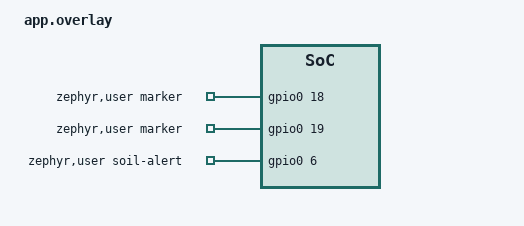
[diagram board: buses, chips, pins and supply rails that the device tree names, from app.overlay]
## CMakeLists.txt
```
cmake_minimum_required(VERSION 3.20)

# Shared modules (SM-04): sensor devicetree + calibration, and the network stack.
set(SHIELD plant_sensors)
set(SNIPPET plant-net)

# WiFi credentials and broker are local-only (gitignored); see credentials.conf.example.
# The read interval comes from a committed fragment selected per condition:
#   west build -p always ... -- -DEXTRA_CONF_FILE=interval-60.conf
# Never pass -DCONFIG_... on the command line: CMake caches it and it silently
# overrides later builds.
if(EXISTS ${CMAKE_CURRENT_SOURCE_DIR}/credentials.conf)
  list(APPEND EXTRA_CONF_FILE ${CMAKE_CURRENT_SOURCE_DIR}/credentials.conf)
else()
  message(FATAL_ERROR "Missing credentials.conf: copy credentials.conf.example "
                      "to credentials.conf and fill in SSID, PSK and broker.")
endif()

find_package(Zephyr REQUIRED HINTS $ENV{ZEPHYR_BASE})
project(main CXX C)
target_sources(app PRIVATE src/main.cpp src/cycle.cpp src/retained.cpp
  src/sleep_esp32.c src/phase_markers.c)
```

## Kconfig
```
mainmenu "Plant Monitor — Main Application"

# Compile-time configuration of the reduced apps/main (issue #22): BLE
# provisioning and Settings are cut, so these replace the Settings keys of
# FR-MA-05a.

config APP_READ_INTERVAL_S
	int "Read interval (s): Sleep length between Cycles"
	default 300
	range 10 86400
	help
	  Set per experiment condition with interval-60.conf / interval-300.conf,
	  never on the command line.

config APP_DEVICE_NAME
	string "Device name (MQTT topic segment and client id)"
	default "plant"
	help
	  FR-MA-05 default. Shorter than 64 bytes (MQTT client id limit).

config APP_WIFI_SSID
	string "WiFi SSID"

config APP_WIFI_PSK
	string "WiFi PSK"

config APP_MQTT_BROKER
	string "MQTT broker host (IPv4 literal or DNS name)"

source "Kconfig.zephyr"
```

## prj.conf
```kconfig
# App-local symbols only. Sensor and network symbols come from the
# plant_sensors shield and the plant-net snippet (SM-05).
CONFIG_CPP=y
CONFIG_STD_CPP17=y
CONFIG_BT=n
# System power management stays off (ADR-0006): its idle policy enters
# light sleep with no wake source during network waits and the device
# stops (static-sleep DD-SS-03; bench, 2026-11-19).
CONFIG_PM=n
# Sleep is reached with sys_poweroff() (as in apps/static-sleep and
# samples/boards/espressif/deep_sleep).
CONFIG_POWEROFF=y
CONFIG_LOG=y
CONFIG_LOG_DEFAULT_LEVEL=2
```

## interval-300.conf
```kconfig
# Experiment condition: 300 s read interval (FR-MA-05 default).
CONFIG_APP_READ_INTERVAL_S=300
```

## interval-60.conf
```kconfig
# Experiment condition: 60 s read interval (literature sanity check).
CONFIG_APP_READ_INTERVAL_S=60
```

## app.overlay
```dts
/* What apps/main alone needs on top of the plant_sensors shield
 * (NFR-MA-04). The shield's zephyr,user node (io-channels) merges with this
 * one. */

#include <zephyr/dt-bindings/gpio/gpio.h>

/ {
	zephyr,user {
		/* Phase markers (FR-MA-18): index 0 = code bit 1 = GPIO18 (to the
		 * Reader's GPIO6), index 1 = code bit 0 = GPIO19 (to the Reader's
		 * GPIO7). Same port and active high: phase_markers.c writes both
		 * in one masked register write. */
		marker-gpios = <&gpio0 18 GPIO_ACTIVE_HIGH>,
			       <&gpio0 19 GPIO_ACTIVE_HIGH>;

		/* LM393 DO, the deep-sleep wake source (FR-MA-06, SM-06). "Active"
		 * means past the threshold (dry). The polarity is NOT yet confirmed
		 * on the bench (#26): if DO reads low when dry, change this one
		 * flag to GPIO_ACTIVE_LOW. No internal pull: the module drives DO. */
		soil-alert-gpios = <&gpio0 6 GPIO_ACTIVE_HIGH>;
	};
};

/* Unused (CONFIG_SPI is off), but the board's default pinctrl for it claims
 * GPIO6 as SCLK. */
&spi2 {
	status = "disabled";
};
```

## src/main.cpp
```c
/* apps/main, reduced for the thesis comparison (issue #22). Each boot is one
 * Cycle: run the Active phase, then Sleep for CONFIG_APP_READ_INTERVAL_S or
 * until the soil-moisture comparator wakes the device (issue #26). There is no
 * application loop; a wake is a fresh boot, and the retained struct
 * (retained.h) is all that one Cycle hands the next (issue #24). */
#include <zephyr/kernel.h>
#include <zephyr/logging/log.h>
#include <zephyr/logging/log_ctrl.h>

#include "cycle.h"
#include "phase_markers.h"
#include "sleep.h"

LOG_MODULE_REGISTER(main_app, LOG_LEVEL_WRN);

int64_t plant::cycle_uptime_ms()
{
	return k_uptime_get();
}

namespace {

const plant::CycleConfig cycle_cfg = {
	CONFIG_APP_WIFI_SSID,
	CONFIG_APP_WIFI_PSK,
	CONFIG_APP_MQTT_BROKER,
	CONFIG_APP_DEVICE_NAME,
	10000, /* WiFi connect timeout (DD-MA-03) */
	3000,  /* SNTP timeout (DD-MA-11) */
	10000, /* MQTT connect timeout: not specified, matches baseline A */
	5000,  /* delivery confirmation timeout (ADR-0010) */
};

} // namespace

int main(void)
{
	/* Configure the marker pins first, so the timestamp and `01` are
	 * adjacent (FR-MA-18). Instrumentation only: a failed init leaves the
	 * markers silent and the Cycle unchanged. */
	(void)phase_markers_init();

	/* FR-MA-07 step 1: the first timestamp of the Active phase. */
	const int64_t t_active_start_ms = k_uptime_get();

	phase_markers_set(PHASE_MARKER_SENSORS);

	/* Steps 2 and 2a: the wake reason, this Cycle's number and the Sleep
	 * that preceded it. */
	main_retained &retained = *sleep_retained();
	const plant::WakeState wake = plant::retained_on_wake(
		retained, sleep_woke(), sleep_wake_reason(), sleep_rtc_ticks());

	LOG_WRN("main: device %s, read interval %d s, cycle %u, %s", CONFIG_APP_DEVICE_NAME,
		CONFIG_APP_READ_INTERVAL_S, wake.cycle_count,
		wake.t_sleep_valid ? "woke from Sleep" : "first boot");

	const plant::CycleResult r = plant::run_cycle(cycle_cfg, wake, t_active_start_ms);

	if (r.error != 0) {
		LOG_WRN("cycle not published: %d", r.error);
	}
	/* The published t_active_ms stops before the teardown (cycle.h); the
	 * time to Sleep entry includes it, for comparison with the trace. */
	LOG_WRN("t_sensor %u ms, t_wifi %u ms, t_active %u ms, %u ms to sleep",
		r.t_sensor_ms, r.t_wifi_ms, r.t_active_ms,
		(uint32_t)(k_uptime_get() - t_active_start_ms));

	/* The wake-loop rule (ADR-0009): whether the next Sleep arms GPIO6. */
	const bool soil_past = sleep_soil_past_threshold();
	const bool soil_wake = plant::soil_wake_next(wake, soil_past);

	LOG_WRN("wake %s, soil %s threshold, next Sleep %s",
		wake.wake_reason == PLANT_WAKE_SOIL_MOISTURE_ALERT ? "soil_moisture_alert"
								   : "timer",
		soil_past ? "past" : "within", soil_wake ? "timer + GPIO6" : "timer only");

	/* Step 19: the record the next Cycle reads, with the Sleep length and
	 * wake sources that are about to be armed. */
	const uint32_t sleep_s = CONFIG_APP_READ_INTERVAL_S;

	plant::retained_on_sleep(retained, sleep_rtc_ticks(), sleep_s * 1000U, soil_wake);

	/* Deferred logging: print everything before the power goes. */
	LOG_PANIC();
	sleep_for(sleep_s, soil_wake);
}
```

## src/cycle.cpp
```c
#include <stdio.h>

#include <plant/json.h>
#include <plant/net.h>
#include <plant/sensors.h>
#include <plant/types.h>

#include "cycle.h"
#include "phase_markers.h"

namespace plant {

namespace {

/* The WiFi phase's inputs from the sensor phase, and the result it fills. */
struct WifiPhase {
	const CycleConfig &cfg;
	const WakeState &wake;
	const plant_sensor_values &values;
	int64_t t_wifi_start_ms;
	CycleResult &result;
};

/* Close the WiFi phase at the current uptime (FR-MA-16, cut early: see
 * CycleResult). t_active_ms = t_sensor_ms + t_wifi_ms + t_ble_ms, t_ble_ms = 0.
 * The Teardown starts here, on every path (FR-MA-18): each one calls this
 * exactly once. */
void stop_clock(WifiPhase &p)
{
	p.result.t_wifi_ms = (uint32_t)(cycle_uptime_ms() - p.t_wifi_start_ms);
	phase_markers_set(PHASE_MARKER_TEARDOWN);
	p.result.t_active_ms = p.result.t_sensor_ms + p.result.t_wifi_ms;
}

/* len is the encoder's result; an encode error fails the publish. */
int publish(const char *device_name, const char *subtopic, const char *payload, int len)
{
	char topic[96];

	if (len < 0) {
		return len;
	}
	snprintf(topic, sizeof(topic), "plants/%s/%s", device_name, subtopic);
	return plant_mqtt_publish(topic, payload, (size_t)len);
}

/* Steps 6-10, with WiFi associated: one SNTP attempt, MQTT connect, the two
 * publishes and the delivery confirmation (ADR-0010). Returns 0, or the error
 * of the first step that failed. */
int publish_cycle(WifiPhase &p)
{
	const CycleConfig &cfg = p.cfg;
	plant_status status = {};
	char payload[PLANT_JSON_RAW_MAX > PLANT_JSON_STATUS_MAX ? PLANT_JSON_RAW_MAX
								: PLANT_JSON_STATUS_MAX];
	int64_t epoch_ms;
	int64_t boot_epoch_ms = 0;
	bool have_epoch = false;
	int64_t timestamp_ms = 0;
	int16_t rssi;
	int len;
	int ret;

	if (plant_sntp_sync(cfg.sntp_timeout_ms, &epoch_ms) == 0) {
		boot_epoch_ms = epoch_ms - cycle_uptime_ms();
		have_epoch = true;
	}
	/* A failed connect releases its own socket: nothing to disconnect. */
	ret = plant_mqtt_connect(cfg.broker, cfg.device_name, cfg.mqtt_timeout_ms);
	if (ret < 0) {
		stop_clock(p);
		return ret;
	}

	if (have_epoch) {
		timestamp_ms = boot_epoch_ms + cycle_uptime_ms();
	}
	len = plant_json_encode_raw(&p.values, have_epoch ? &timestamp_ms : nullptr, payload,
				    sizeof(payload));
	ret = publish(cfg.device_name, "sensors/raw", payload, len);
	if (ret < 0) {
		stop_clock(p);
		/* A failed publish can leave the client marked connected. */
		(void)plant_mqtt_disconnect();
		return ret;
	}

	status.wake_reason = p.wake.wake_reason;
	status.present = PLANT_STATUS_WAKE_REASON | PLANT_STATUS_T_ACTIVE_MS |
			 PLANT_STATUS_T_SENSOR_MS | PLANT_STATUS_T_WIFI_MS | PLANT_STATUS_T_BLE_MS |
			 PLANT_STATUS_CYCLE_COUNT;
	status.cycle_count = p.wake.cycle_count;
	if (p.wake.t_sleep_valid) {
		status.t_sleep_ms = p.wake.t_sleep_ms;
		status.present |= PLANT_STATUS_T_SLEEP_MS;
	}
	if (plant_wifi_rssi(&rssi) == 0) {
		status.wifi_rssi_dbm = rssi;
		status.present |= PLANT_STATUS_WIFI_RSSI_DBM;
	}
	if (have_epoch) {
		status.timestamp_ms = timestamp_ms;
		status.present |= PLANT_STATUS_TIMESTAMP_MS;
	}
	stop_clock(p);
	status.t_sensor_ms = p.result.t_sensor_ms;
	status.t_wifi_ms = p.result.t_wifi_ms;
	status.t_ble_ms = 0;
	status.t_active_ms = p.result.t_active_ms;
	len = plant_json_encode_status(&status, payload, sizeof(payload));
	ret = publish(cfg.device_name, "status", payload, len);
	if (ret == 0) {
		/* QoS 0 only hands the payloads to the TCP send buffer. Before
		 * the radio goes down, confirm the broker has both (ADR-0010). */
		ret = plant_mqtt_flush(cfg.flush_timeout_ms);
	}

	(void)plant_mqtt_disconnect();
	return ret;
}

} // namespace

CycleResult run_cycle(const CycleConfig &cfg, const WakeState &wake, int64_t t_active_start_ms)
{
	CycleResult result = {};
	plant_sensor_values values = {};
	int ret;

	/* Sensor phase (steps 3-4): a failed sensor is a cleared valid bit,
	 * published as null (FR-MA-08a); it never stops the Cycle. */
	(void)plant_sensors_init();
	(void)plant_sensors_read(&values);

	WifiPhase p = {cfg, wake, values, cycle_uptime_ms(), result};

	phase_markers_set(PHASE_MARKER_WIFI); /* at t_wifi_start (FR-MA-18) */
	result.t_sensor_ms = (uint32_t)(p.t_wifi_start_ms - t_active_start_ms);

	/* WiFi phase (steps 4a-11). */
	ret = plant_net_init();
	if (ret == 0) {
		ret = plant_wifi_connect(cfg.ssid, cfg.psk, cfg.wifi_timeout_ms);
	}
	if (ret == 0) {
		ret = publish_cycle(p);
	} else {
		stop_clock(p);
	}
	result.error = ret;
	(void)plant_wifi_disconnect();
	return result;
}

} // namespace plant
```

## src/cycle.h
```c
/* One Active phase of apps/main (FR-MA-07 steps 3-11 and 16-17).
 *
 * Zephyr-free so the host tests can run it (tests/host/test_main_cycle.cpp):
 * it reaches the hardware only through <plant/sensors.h> and <plant/net.h>,
 * and the clock only through cycle_uptime_ms(), which the app provides.
 * Waking up and going back to Sleep are the caller's job (sleep.h). */
#ifndef MAIN_CYCLE_H
#define MAIN_CYCLE_H

#include <stdint.h>

#include "retained.h"

namespace plant {

struct CycleConfig {
	const char *ssid;
	const char *psk;
	const char *broker;
	const char *device_name; /* MQTT topic segment and client id, < 64 bytes */
	int32_t wifi_timeout_ms;
	int32_t sntp_timeout_ms;
	int32_t mqtt_timeout_ms;
	int32_t flush_timeout_ms; /* delivery confirmation (ADR-0010) */
};

struct CycleResult {
	/* 0 when the broker confirmed both payloads, otherwise the error of the
	 * step that failed. Publishing stops at the first failure (DD-MA-02). */
	int error;
	/* The Phase durations as published in `status` (FR-MA-16). Measured up
	 * to the moment `status` is encoded: the MQTT and WiFi teardown that
	 * follows is in no t_* term. t_ble_ms is always 0 (BLE is cut). */
	uint32_t t_sensor_ms;
	uint32_t t_wifi_ms;
	uint32_t t_active_ms;
};

/* Milliseconds since boot. Provided by the app (k_uptime_get()). */
int64_t cycle_uptime_ms();

/* Run one Active phase: read the sensors, connect WiFi, try SNTP once,
 * connect MQTT, publish sensors/raw, sample RSSI, publish status, confirm
 * that the broker received both (ADR-0010), then disconnect MQTT and WiFi.
 * An unconfirmed delivery fails the Cycle like a failed publish.
 * t_active_start_ms is the uptime recorded at wake entry (FR-MA-07 step 1).
 * Never retries: a failed WiFi or MQTT step skips the publishing, and the
 * function still returns with the radio torn down, ready for Sleep.
 * wake_reason, cycle_count and t_sleep_ms come from `wake`
 * (retained_on_wake()); both wake reasons run the same sequence.
 * Sets the phase markers `10` at t_wifi_start and `11` where t_wifi_ms stops
 * (FR-MA-18), on every path; the caller sets `01` before and `00` after. */
CycleResult run_cycle(const CycleConfig &cfg, const WakeState &wake, int64_t t_active_start_ms);

} // namespace plant

#endif
```

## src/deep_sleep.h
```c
/* Sleep entry and wake cause: the only SoC-specific code of apps/main.
 * The Espressif implementation is deep_sleep_esp32.c. */
#ifndef MAIN_DEEP_SLEEP_H
#define MAIN_DEEP_SLEEP_H

#include <stdbool.h>
#include <stdint.h>

#include <zephyr/toolchain.h>

#ifdef __cplusplus
extern "C" {
#endif

/* true when this boot is a wake from a deep-sleep timer, false on a cold boot
 * (power-on, reset, reflash). Logged only: both count as a "timer" wake until
 * retained state exists. */
bool deep_sleep_woke_from_timer(void);

/* Arm the RTC timer to wake after `seconds` and enter deep sleep. Never
 * returns: the wake is a fresh boot. */
FUNC_NORETURN void deep_sleep_for(uint32_t seconds);

#ifdef __cplusplus
}
#endif
#endif
```

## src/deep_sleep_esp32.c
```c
/* Espressif deep sleep (ESP32-C6): the RTC timer is the wake source and
 * sys_poweroff() enters deep sleep, as in apps/static-sleep and
 * zephyr/samples/boards/espressif/deep_sleep. */
#include <zephyr/sys/poweroff.h>

#include <esp_sleep.h>

#include "deep_sleep.h"

bool deep_sleep_woke_from_timer(void)
{
	return esp_sleep_get_wakeup_cause() == ESP_SLEEP_WAKEUP_TIMER;
}

FUNC_NORETURN void deep_sleep_for(uint32_t seconds)
{
	/* 64-bit microseconds: a 32-bit product overflows after ~71 minutes. */
	(void)esp_sleep_enable_timer_wakeup((uint64_t)seconds * 1000000ULL);
	sys_poweroff();
}
```

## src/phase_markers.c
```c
/* Phase markers on GPIO18/GPIO19 (FR-MA-18); interface in phase_markers.h. */
#include <zephyr/devicetree.h>
#include <zephyr/drivers/gpio.h>
#include <zephyr/sys/util.h>

#include "phase_markers.h"

#define MARKERS DT_PATH(zephyr_user)

BUILD_ASSERT(DT_PROP_LEN(MARKERS, marker_gpios) == 2, "marker-gpios needs bit 1 and bit 0");
BUILD_ASSERT(DT_SAME_NODE(DT_GPIO_CTLR_BY_IDX(MARKERS, marker_gpios, 0),
			  DT_GPIO_CTLR_BY_IDX(MARKERS, marker_gpios, 1)),
	     "both marker pins must be on one port for a single register write");
BUILD_ASSERT((DT_GPIO_FLAGS_BY_IDX(MARKERS, marker_gpios, 0) & GPIO_ACTIVE_LOW) == 0 &&
		     (DT_GPIO_FLAGS_BY_IDX(MARKERS, marker_gpios, 1) & GPIO_ACTIVE_LOW) == 0,
	     "the raw port write assumes active-high marker pins");

static const struct gpio_dt_spec bit1 = GPIO_DT_SPEC_GET_BY_IDX(MARKERS, marker_gpios, 0);
static const struct gpio_dt_spec bit0 = GPIO_DT_SPEC_GET_BY_IDX(MARKERS, marker_gpios, 1);

static bool ready;

int phase_markers_init(void)
{
	int ret;

	if (!gpio_is_ready_dt(&bit1) || !gpio_is_ready_dt(&bit0)) {
		return -ENODEV;
	}
	ret = gpio_pin_configure_dt(&bit1, GPIO_OUTPUT_INACTIVE);
	if (ret == 0) {
		ret = gpio_pin_configure_dt(&bit0, GPIO_OUTPUT_INACTIVE);
	}
	ready = (ret == 0);
	return ret;
}

void phase_markers_set(enum phase_marker code)
{
	const gpio_port_pins_t mask = BIT(bit1.pin) | BIT(bit0.pin);
	gpio_port_value_t value = 0;

	if (!ready) {
		return;
	}
	if (code & 0x2) {
		value |= BIT(bit1.pin); /* GPIO18 */
	}
	if (code & 0x1) {
		value |= BIT(bit0.pin); /* GPIO19 */
	}
	/* One write to the port's output register (gpio_esp32.c, under
	 * irq_lock): no intermediate code such as 01 -> 11 -> 10. */
	(void)gpio_port_set_masked_raw(bit1.port, mask, value);
}
```

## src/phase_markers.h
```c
/* Phase markers (FR-MA-18, issue #28): two GPIOs that tell the INA219
 * Reader which part of the Active phase the device is in, so the Current
 * trace can be cut into boot, sensors, WiFi and Teardown (ADR-0009).
 *
 * Code bit 1 is GPIO18 and bit 0 is GPIO19 (marker-gpios in app.overlay).
 * The Reader pulls both down, so they read `00` during boot and deep sleep.
 *
 * Zephyr-free so the host tests can fake it (tests/host/test_main_cycle.cpp);
 * C so it can move to a shared module unchanged. The Zephyr implementation is
 * phase_markers.c. */
#ifndef MAIN_PHASE_MARKERS_H
#define MAIN_PHASE_MARKERS_H

#ifdef __cplusplus
extern "C" {
#endif

enum phase_marker {
	PHASE_MARKER_NONE = 0,     /* 00: boot, deep sleep; set last before sys_poweroff() */
	PHASE_MARKER_SENSORS = 1,  /* 01: from t_active_start */
	PHASE_MARKER_WIFI = 2,     /* 10: from t_wifi_start */
	PHASE_MARKER_TEARDOWN = 3, /* 11: from where t_wifi_ms stops */
};

/* Configure both pins as outputs at `00`. Call once, before the first
 * phase_markers_set(). Returns 0 or a negative errno; on error
 * phase_markers_set() does nothing. */
int phase_markers_init(void);

/* Drive `code` on both pins with one register write, so the Reader never
 * samples a code in between. */
void phase_markers_set(enum phase_marker code);

#ifdef __cplusplus
}
#endif
#endif
```

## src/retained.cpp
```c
#include "retained.h"

enum plant_wake_reason main_wake_reason(enum main_wake_cause cause, bool soil_pin_latched)
{
	if (cause == MAIN_WAKE_CAUSE_EXT1 || (cause == MAIN_WAKE_CAUSE_NONE && soil_pin_latched)) {
		return PLANT_WAKE_SOIL_MOISTURE_ALERT;
	}
	return PLANT_WAKE_TIMER;
}

namespace plant {

WakeState retained_on_wake(main_retained &rs, bool woke_from_sleep, plant_wake_reason wake_reason,
			   uint64_t rtc_now_ticks)
{
	WakeState w = {0, false, 0, woke_from_sleep ? wake_reason : PLANT_WAKE_TIMER, false};

	/* Only a wake from Sleep vouches for the magic: a reset or reflash
	 * can leave a complete record behind. */
	if (woke_from_sleep && rs.magic == RETAINED_MAGIC) {
		w.cycle_count = rs.cycle_count + 1;
		w.soil_wake_armed = rs.soil_wake_armed != 0;
		if (wake_reason == PLANT_WAKE_TIMER) {
			/* The armed length is the Sleep that was taken (FR-MA-06). */
			w.t_sleep_valid = true;
			w.t_sleep_ms = rs.scheduled_sleep_ms;
		} else if (rtc_now_ticks >= rs.sleep_start_rtc_ticks) {
			/* An alert cuts the Sleep short: measure it. */
			const uint64_t elapsed_ms =
				retained_ticks_to_ms(rtc_now_ticks - rs.sleep_start_rtc_ticks);

			if (elapsed_ms <= UINT32_MAX) {
				w.t_sleep_valid = true;
				w.t_sleep_ms = (uint32_t)elapsed_ms;
			}
		}
	}
	rs = {};
	rs.cycle_count = w.cycle_count;
	return w;
}

bool soil_wake_next(const WakeState &wake, bool soil_past_threshold)
{
	if (wake.wake_reason == PLANT_WAKE_SOIL_MOISTURE_ALERT) {
		return false;
	}
	return wake.soil_wake_armed || !soil_past_threshold;
}

void retained_on_sleep(main_retained &rs, uint64_t rtc_now_ticks, uint32_t sleep_ms,
		       bool soil_wake_armed)
{
	rs.sleep_start_rtc_ticks = rtc_now_ticks;
	rs.scheduled_sleep_ms = sleep_ms;
	rs.soil_wake_armed = soil_wake_armed ? 1U : 0U;
	rs.magic = RETAINED_MAGIC;
}

} // namespace plant
```

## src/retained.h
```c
/* State that survives Sleep (FR-MA-06 retained struct, FR-MA-17 cycle_count;
 * scope cut: ADR-0009, #23). Each Cycle is a fresh boot, so this is the only
 * memory one Cycle leaves the next.
 *
 * The struct lives in LP SRAM, which stays powered in deep sleep; the
 * SoC-specific placement is in sleep_esp32.c. This header and retained.cpp
 * are Zephyr-free so the host tests can run them
 * (tests/host/test_main_retained.cpp). */
#ifndef MAIN_RETAINED_H
#define MAIN_RETAINED_H

#include <stdbool.h>
#include <stdint.h>

#include <plant/types.h>

#ifdef __cplusplus
extern "C" {
#endif

/* Not initialised by the boot code: after power-on it holds whatever LP SRAM
 * powers up with. Only retained_on_wake() and retained_on_sleep() write it. */
struct main_retained {
	uint32_t magic;              /* RETAINED_MAGIC: a complete Sleep record */
	uint32_t cycle_count;        /* the Cycle that wrote the record */
	/* RTC counter at Sleep entry (for soil alerts). Raw ticks, not ms: each
	 * boot recalibrates the RTC clock, so ms from two boots don't subtract. */
	uint64_t sleep_start_rtc_ticks;
	uint32_t scheduled_sleep_ms; /* the Sleep length that was armed */
	uint32_t soil_wake_armed;    /* non-zero: that Sleep had the GPIO6 wake */
};

/* RTC ticks to ms with this boot's calibration. Provided by the SoC file
 * (sleep_esp32.c). */
uint64_t retained_ticks_to_ms(uint64_t ticks);

/* What the SoC's wake-cause register recorded for the Sleep that just ended. */
enum main_wake_cause {
	MAIN_WAKE_CAUSE_NONE, /* no source recorded */
	MAIN_WAKE_CAUSE_TIMER,
	MAIN_WAKE_CAUSE_EXT1,
};

/* The Wake reason of a Sleep (ADR-0012). The register can stay empty after a
 * GPIO6 wake, so soil_pin_latched (GPIO6 both selected and latched in the EXT1
 * block) decides that case:
 *
 *   recorded cause   soil_pin_latched   Wake reason
 *   EXT1             any                soil alert
 *   timer            any                timer
 *   none             yes                soil alert
 *   none             no                 timer */
enum plant_wake_reason main_wake_reason(enum main_wake_cause cause, bool soil_pin_latched);

#ifdef __cplusplus
}

namespace plant {

constexpr uint32_t RETAINED_MAGIC = 0xDEADB33Fu;

/* What this Cycle publishes from the retained state. */
struct WakeState {
	uint32_t cycle_count;
	bool t_sleep_valid; /* false: t_sleep_ms is published as null */
	uint32_t t_sleep_ms;
	plant_wake_reason wake_reason;
	bool soil_wake_armed; /* the Sleep just ended had the GPIO6 wake */
};

/* FR-MA-07 steps 2 and 2a. Read the record the previous Cycle left, if any,
 * and claim this Cycle's number. The record is valid only when this boot is a
 * wake from Sleep (woke_from_sleep) *and* the magic is intact: a reset or a
 * reflash can leave LP SRAM, magic included, untouched. With a valid record
 * cycle_count is the previous one plus 1, and t_sleep_ms is the armed length
 * on a timer wake or the RTC ticks since Sleep entry, in ms, on a soil alert
 * (null if that is not a duration). Otherwise (first boot, reset, reflash,
 * power loss) the count restarts at 0, as baseline A's first slot, and
 * t_sleep_ms is null. wake_reason is ignored unless woke_from_sleep; a boot
 * that is no wake reports "timer". */
WakeState retained_on_wake(main_retained &rs, bool woke_from_sleep, plant_wake_reason wake_reason,
			   uint64_t rtc_now_ticks);

/* The wake-loop rule (ADR-0009): should the next Sleep arm the GPIO6 wake? The
 * wake is level-triggered, so arming it while DO is past the threshold would
 * wake the device at once.
 *
 *   this wake                  DO past threshold   next Sleep
 *   soil alert                 any                 timer only
 *   timer, GPIO6 wake armed    any                 timer + GPIO6
 *   timer, timer only          yes                 timer only
 *   timer, timer only          no                  timer + GPIO6
 *
 * A boot with no usable record counts as "timer, timer only". */
bool soil_wake_next(const WakeState &wake, bool soil_past_threshold);

/* FR-MA-07 step 19, just before Sleep: record the RTC counter, the Sleep length
 * and whether the GPIO6 wake is about to be armed, and mark the record valid. */
void retained_on_sleep(main_retained &rs, uint64_t rtc_now_ticks, uint32_t sleep_ms,
		       bool soil_wake_armed);

} // namespace plant

#endif
#endif
```

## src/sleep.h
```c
/* Sleep entry, wake cause and retained memory: the only SoC-specific code of
 * apps/main. Sleep is the SoC's deep sleep (HP domain off), entered with
 * sys_poweroff(), not the light sleep CONFIG_PM picks when idle. The
 * Espressif implementation is sleep_esp32.c. */
#ifndef MAIN_SLEEP_H
#define MAIN_SLEEP_H

#include <stdbool.h>
#include <stdint.h>

#include <zephyr/toolchain.h>

#include "retained.h"

#ifdef __cplusplus
extern "C" {
#endif

/* true when this boot is a wake from Sleep, by either wake source; false on
 * any other boot (power-on, reset, reflash). */
bool sleep_woke(void);

/* What ended the Sleep: PLANT_WAKE_SOIL_MOISTURE_ALERT when the GPIO6 wake
 * fired, otherwise PLANT_WAKE_TIMER (also on a boot that is no wake). Call it
 * before sleep_soil_past_threshold(), which clears the EXT1 state it reads
 * (ADR-0012). */
enum plant_wake_reason sleep_wake_reason(void);

/* The struct that survives Sleep (retained.h), in LP SRAM. Its content is
 * whatever the previous boot left, or garbage after power-on. */
struct main_retained *sleep_retained(void);

/* The raw RTC counter. Keeps counting through Sleep; restarts on power-on.
 * retained_ticks_to_ms() (retained.h) converts a difference of two values. */
uint64_t sleep_rtc_ticks(void);

/* Read the LM393 output now: true when the soil is past the threshold. A pin
 * that can't be read counts as past it, so the wake is not armed on an unknown
 * level (a wake loop if the level is asserted). Not a pure query: it releases
 * the pad hold the last Sleep left on GPIO6 and configures the pin as input. */
bool sleep_soil_past_threshold(void);

/* Arm the RTC timer to wake after `seconds`, and the GPIO6 wake if soil_wake
 * (soil_wake_next(), retained.h), release the phase markers to `00`
 * (phase_markers.h) and enter Sleep. Never returns: the wake is a fresh boot.
 * Call it after every retained-RAM write and log. */
FUNC_NORETURN void sleep_for(uint32_t seconds, bool soil_wake);

#ifdef __cplusplus
}
#endif
#endif
```

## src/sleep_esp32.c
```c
/* Sleep on Espressif (ESP32-C6): the RTC timer and the LM393 output on GPIO6
 * wake the chip and sys_poweroff() enters deep sleep, as in apps/static-sleep
 * and zephyr/samples/boards/espressif/deep_sleep.
 *
 * The GPIO6 wake uses EXT1, not the HAL's "GPIO" deep-sleep wake: that one
 * forces the RTC_PERIPH power domain on during Sleep (sleep_modes.c), which
 * apps/static-sleep's I_sleep doesn't include. */
#include <zephyr/devicetree.h>
#include <zephyr/drivers/gpio.h>
#include <zephyr/sys/poweroff.h>

#include <esp_private/esp_clk.h>
#include <esp_private/sleep_gpio.h>
#include <esp_sleep.h>
#include <esp_system.h>
#include <hal/lp_aon_ll.h>
#include <soc/rtc.h>
#include <soc/soc_caps.h>

#include "phase_markers.h"
#include "sleep.h"

#define USER_NODE DT_PATH(zephyr_user)

BUILD_ASSERT(DT_SAME_NODE(DT_GPIO_CTLR(USER_NODE, soil_alert_gpios), DT_NODELABEL(gpio0)),
	     "the soil-alert wake pin must be on gpio0");
BUILD_ASSERT(((1ULL << DT_GPIO_PIN(USER_NODE, soil_alert_gpios)) &
	      SOC_GPIO_DEEP_SLEEP_WAKE_VALID_GPIO_MASK) != 0,
	     "the soil-alert wake pin must be an LP GPIO (GPIO0-7)");

static const struct gpio_dt_spec soil_alert = GPIO_DT_SPEC_GET(USER_NODE, soil_alert_gpios);

/* LP SRAM (RTC fast memory), which stays powered in deep sleep (the HAL keeps
 * it on when its power-down option is AUTO). `.rtc_noinit` is NOLOAD in the
 * SoC linker script, so the boot code neither loads nor zeroes it. The
 * section is named directly: the HAL's RTC_NOINIT_ATTR expands to nothing,
 * silently, when the SoC capability macros aren't visible. */
static struct main_retained retained __attribute__((section(".rtc_noinit")));

bool sleep_woke(void)
{
	/* The reset reason, not the wakeup cause: both wake sources end a
	 * Sleep, and a reset or reflash is no wake whatever the cause. */
	return esp_reset_reason() == ESP_RST_DEEPSLEEP;
}

enum plant_wake_reason sleep_wake_reason(void)
{
	/* GPIO6 is the only EXT1 source. If the timer fired too, the HAL
	 * reports the timer; the wake stays armed and fires on the next Sleep
	 * if DO is still asserted. */
	const esp_sleep_wakeup_cause_t hal_cause = esp_sleep_get_wakeup_cause();
	enum main_wake_cause cause = MAIN_WAKE_CAUSE_NONE;

	if (hal_cause == ESP_SLEEP_WAKEUP_TIMER) {
		cause = MAIN_WAKE_CAUSE_TIMER;
	} else if (hal_cause == ESP_SLEEP_WAKEUP_EXT1) {
		cause = MAIN_WAKE_CAUSE_EXT1;
	}

	/* The cause register can stay empty after a GPIO6 wake (ADR-0012). The
	 * latch alone is stale after a timer-only Sleep, so the pin must also
	 * still be selected; the pad-hold release in
	 * sleep_soil_past_threshold() clears that selection. LP IO numbers
	 * equal GPIO numbers on this SoC. */
	const uint32_t latched = lp_aon_ll_ext1_get_wakeup_pins() &
				 lp_aon_ll_ext1_get_wakeup_status();

	return main_wake_reason(cause, (latched & BIT(soil_alert.pin)) != 0);
}

struct main_retained *sleep_retained(void)
{
	return &retained;
}

uint64_t sleep_rtc_ticks(void)
{
	/* Not esp_rtc_get_time_us(): its accumulator is linked into HP SRAM
	 * here (CONFIG_RESERVE_RTC_MEM=0), so each boot rescales every tick
	 * since power-on with that boot's calibration, and values from two
	 * boots differ by a drift that grows with uptime. */
	return rtc_time_get();
}

uint64_t retained_ticks_to_ms(uint64_t ticks)
{
	return rtc_time_slowclk_to_us(ticks, esp_clk_slowclk_cal_get()) / 1000U;
}

bool sleep_soil_past_threshold(void)
{
	int level;

	/* EXT1 entry latched GPIO6 with a pad hold that survives the wake.
	 * ESP-IDF releases it in cpu_start.c, which Zephyr doesn't build;
	 * while held, the pad stays routed to the LP domain and the read below
	 * can't see DO change. */
	esp_deep_sleep_wakeup_io_reset();

	if (!gpio_is_ready_dt(&soil_alert) ||
	    gpio_pin_configure_dt(&soil_alert, GPIO_INPUT) != 0) {
		return true;
	}
	level = gpio_pin_get_dt(&soil_alert);
	return level != 0; /* 1 = active = past the threshold; < 0 = unknown */
}

FUNC_NORETURN void sleep_for(uint32_t seconds, bool soil_wake)
{
	/* 64-bit microseconds: a 32-bit product overflows after ~71 minutes. */
	(void)esp_sleep_enable_timer_wakeup((uint64_t)seconds * 1000000ULL);
	if (soil_wake) {
		/* The wake level is the devicetree's active level. */
		(void)esp_sleep_enable_ext1_wakeup_io(1ULL << soil_alert.pin,
						      (soil_alert.dt_flags & GPIO_ACTIVE_LOW)
							      ? ESP_EXT1_WAKEUP_ANY_LOW
							      : ESP_EXT1_WAKEUP_ANY_HIGH);
	}
	/* Releasing the markers to `00` ends the Teardown (FR-MA-18, ADR-0009):
	 * it is the last step before power-off. */
	phase_markers_set(PHASE_MARKER_NONE);
	sys_poweroff();
}
```
